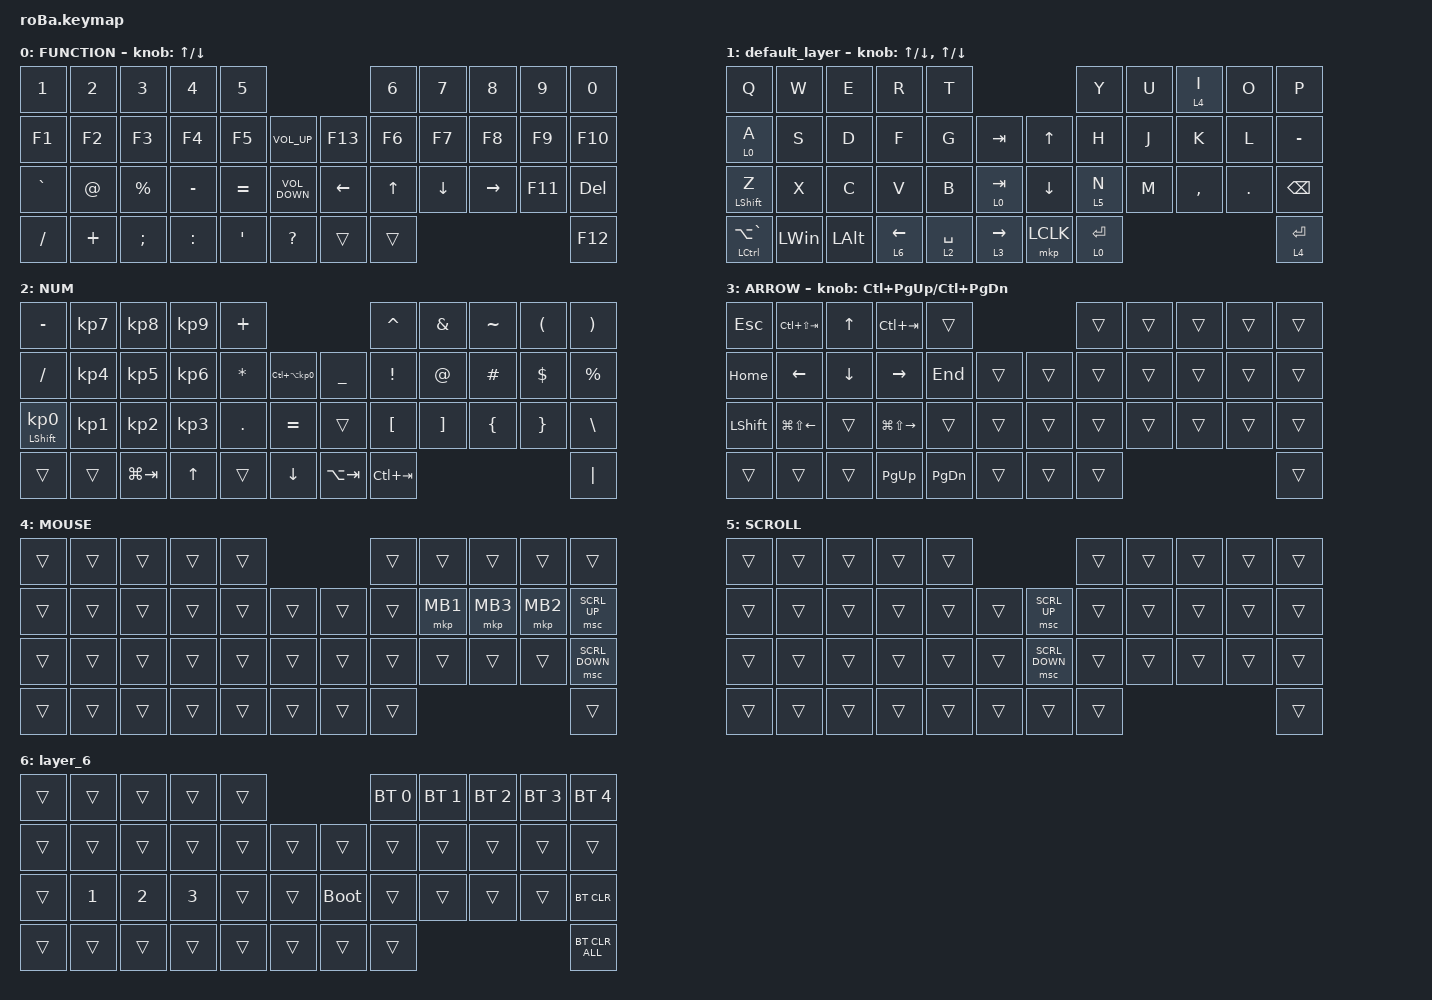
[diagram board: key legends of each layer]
// スクロール速度の定義（値は例です）

#define zmk_pointing_default_scrl_val 10

#include <behaviors.dtsi>
#include <dt-bindings/zmk/bt.h>
#include <dt-bindings/zmk/keys.h>
#include <dt-bindings/zmk/pointing.h>

#define MOUSE 4
#define SCROLL 5
#define NUM 6

&mt {
    flavor = "balanced";
    quick-tap-ms = <0>;
};

/ {
    combos {
        compatible = "zmk,combos";

        tab {
            bindings = <&kp TAB>;
            key-positions = <11 10 11>;
        };

        shift_tab {
            bindings = <&kp LS(TAB)>;
            key-positions = <12 13>;
        };

        double_quotation {
            bindings = <&kp DOUBLE_QUOTES>;
            key-positions = <20 21>;
        };

        eq {
            bindings = <&kp EQUAL>;
            key-positions = <24 25>;
        };

        esc {
            bindings = <&kp ESC>;
            key-positions = <0 1>;
        };

        capslock {
            bindings = <&kp CAPSLOCK>;
            key-positions = <22 23>;
        };

        close {
            bindings = <&kp LC(W)>;
            key-positions = <16 28>;
        };

        rclick {
            bindings = <&mkp RCLK>;
            key-positions = <40 41>;
        };

        midclick {
            bindings = <&mkp MCLK>;
            key-positions = <28 40>;
        };
    };

    macros {
        to_layer_0: to_layer_0 {
            compatible = "zmk,behavior-macro-one-param";
            #binding-cells = <1>;
            bindings = <&to 1 &macro_param_1to1 &kp MACRO_PLACEHOLDER>;
            label = "TO_LAYER_0";
        };
    };

    behaviors {
        lt_to_layer_0: lt_to_layer_0 {
            compatible = "zmk,behavior-hold-tap";
            label = "LAYER_TAP_TO_0";
            bindings = <&mo>, <&to_layer_0>;

            #binding-cells = <2>;
            tapping-term-ms = <200>;
        };
    };

    keymap {
        compatible = "zmk,keymap";

        FUNCTION {
            bindings = <
&kp NUMBER_1  &kp NUMBER_2  &kp NUMBER_3   &kp NUMBER_4  &kp N5                                            &kp NUMBER_6  &kp N7          &kp N8           &kp N9   &kp N0
&kp F1        &kp F2        &kp F3         &kp F4        &kp F5     &kp C_VOLUME_UP        &kp F13         &kp F6        &kp F7          &kp F8           &kp F9   &kp F10
&kp GRAVE     &kp AT_SIGN   &kp PERCENT    &kp MINUS     &kp EQUAL  &kp C_VOLUME_DOWN      &kp LEFT_ARROW  &kp UP_ARROW  &kp DOWN_ARROW  &kp RIGHT_ARROW  &kp F11  &kp DEL
&kp SLASH     &kp PLUS      &kp SEMICOLON  &kp COLON     &kp SQT    &kp QUESTION           &trans          &trans                                                  &kp F12
            >;

            sensor-bindings = <&inc_dec_kp UP_ARROW DOWN>;
        };

        default_layer {
            bindings = <
&kp Q                &kp W         &kp E         &kp R                  &kp T                                                  &kp Y        &kp U  &lt 4 I    &kp O    &kp P
&lt 0 A              &kp S         &kp D         &kp F                  &kp G        &kp TAB                     &kp UP_ARROW  &kp H        &kp J  &kp K      &kp L    &kp MINUS
&mt LEFT_SHIFT Z     &kp X         &kp C         &kp V                  &kp B        &lt 0 TAB                   &kp DOWN      &lt 5 N      &kp M  &kp COMMA  &kp DOT  &kp BACKSPACE
&mt LCTRL LA(GRAVE)  &kp LEFT_WIN  &kp LEFT_ALT  &lt_to_layer_0 6 LEFT  &lt 2 SPACE  &lt_to_layer_0 3 RIGHT      &mkp LCLK     &lt 0 ENTER                             &lt 4 ENTER
            >;

            sensor-bindings =
                <&inc_dec_kp UP DOWN>,
                <&inc_dec_kp UP_ARROW DOWN>;
        };

        NUM {
            bindings = <
&kp MINUS                   &kp KP_NUMBER_7  &kp KP_NUMBER_8  &kp KP_NUMBER_9  &kp PLUS                                                   &kp CARET         &kp AMPERSAND      &kp TILDE       &kp LEFT_PARENTHESIS  &kp RIGHT_PARENTHESIS
&kp SLASH                   &kp KP_NUMBER_4  &kp KP_NUMBER_5  &kp KP_NUMBER_6  &kp ASTERISK  &kp LC(LA(KP_NUMBER_0))      &kp UNDERSCORE  &kp EXCLAMATION   &kp AT_SIGN        &kp HASH        &kp DOLLAR            &kp PERCENT
&mt LEFT_SHIFT KP_NUMBER_0  &kp KP_NUMBER_1  &kp KP_NUMBER_2  &kp KP_NUMBER_3  &kp PERIOD    &kp EQUAL                    &trans          &kp LEFT_BRACKET  &kp RIGHT_BRACKET  &kp LEFT_BRACE  &kp RIGHT_BRACE       &kp BACKSLASH
&trans                      &trans           &kp LG(TAB)      &kp UP           &trans        &kp DOWN                     &kp LA(TAB)     &kp LC(TAB)                                                                &kp PIPE
            >;
        };

        ARROW {
            bindings = <
&kp ESCAPE      &kp LC(LS(TAB))         &kp UP_ARROW    &kp LC(TAB)              &trans                         &trans  &trans  &trans  &trans  &trans
&kp HOME        &kp LEFT_ARROW          &kp DOWN_ARROW  &kp RIGHT_ARROW          &kp END    &trans      &trans  &trans  &trans  &trans  &trans  &trans
&kp LEFT_SHIFT  &kp LG(LS(LEFT_ARROW))  &trans          &kp LG(LS(RIGHT_ARROW))  &trans     &trans      &trans  &trans  &trans  &trans  &trans  &trans
&trans          &trans                  &trans          &kp PG_UP                &kp PG_DN  &trans      &trans  &trans                          &trans
            >;

            sensor-bindings = <&inc_dec_kp LC(PAGE_UP) LC(PAGE_DOWN)>;
        };

        MOUSE {
            bindings = <
&trans  &trans  &trans  &trans  &trans                      &trans  &trans    &trans    &trans    &trans
&trans  &trans  &trans  &trans  &trans  &trans      &trans  &trans  &mkp MB1  &mkp MB3  &mkp MB2  &msc SCRL_UP
&trans  &trans  &trans  &trans  &trans  &trans      &trans  &trans  &trans    &trans    &trans    &msc SCRL_DOWN
&trans  &trans  &trans  &trans  &trans  &trans      &trans  &trans                                &trans
            >;
        };

        SCROLL {
            bindings = <
&trans  &trans  &trans  &trans  &trans                              &trans  &trans  &trans  &trans  &trans
&trans  &trans  &trans  &trans  &trans  &trans      &msc SCRL_UP    &trans  &trans  &trans  &trans  &trans
&trans  &trans  &trans  &trans  &trans  &trans      &msc SCRL_DOWN  &trans  &trans  &trans  &trans  &trans
&trans  &trans  &trans  &trans  &trans  &trans      &trans          &trans                          &trans
            >;
        };

        layer_6 {
            bindings = <
&trans  &trans        &trans        &trans        &trans                           &bt BT_SEL 0  &bt BT_SEL 1  &bt BT_SEL 2  &bt BT_SEL 3  &bt BT_SEL 4
&trans  &trans        &trans        &trans        &trans  &trans      &trans       &trans        &trans        &trans        &trans        &trans
&trans  &kp NUMBER_1  &kp NUMBER_2  &kp NUMBER_3  &trans  &trans      &bootloader  &trans        &trans        &trans        &trans        &bt BT_CLR
&trans  &trans        &trans        &trans        &trans  &trans      &trans       &trans                                                  &bt BT_CLR_ALL
            >;
        };
    };
};
